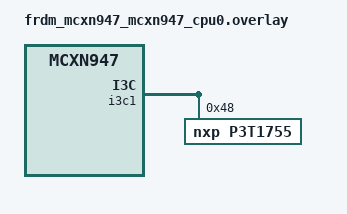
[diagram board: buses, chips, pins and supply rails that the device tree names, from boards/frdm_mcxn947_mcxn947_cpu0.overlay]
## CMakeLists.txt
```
# SPDX-License-Identifier: Apache-2.0

cmake_minimum_required(VERSION 3.20.0)
find_package(Zephyr REQUIRED HINTS $ENV{ZEPHYR_BASE})
project(mctp_endpoint)

target_include_directories(app PRIVATE ../common/include)

target_sources(app PRIVATE src/main.c ../common/pldm.c)
```

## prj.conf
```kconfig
CONFIG_MCTP=y
CONFIG_PLDM=y

CONFIG_SERIAL=y
CONFIG_UART_ASYNC_API=y
CONFIG_MCTP_UART=y

CONFIG_SENSOR=y
CONFIG_CBPRINTF_FP_SUPPORT=y

CONFIG_LOG=y
CONFIG_LOG_BUFFER_SIZE=4096
```

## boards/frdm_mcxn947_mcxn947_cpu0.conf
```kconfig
#CONFIG_I2C_MCUX_LPI2C_BUS_RECOVERY=y
```

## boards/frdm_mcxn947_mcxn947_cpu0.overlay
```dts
/*
 * Copyright 2026 Intel Corporation
 *
 * SPDX-License-Identifier: Apache-2.0
 */

mctp_serial: &arduino_serial {};

/ {
	aliases {
		ambient-temp0 = &p3t1755;
	};
};

&i3c1 {
	status = "okay";

	i2c-scl-hz = <DT_FREQ_K(400)>;
	i3c-scl-hz = <DT_FREQ_M(4)>;
	i3c-od-scl-hz = <DT_FREQ_K(1500)>;

	p3t1755: p3t1755@4800000236152a0090 {
		compatible = "nxp,p3t1755";
		reg = <0x48 0x0236 0x152a0090>;
		status = "okay";
	};
};
```

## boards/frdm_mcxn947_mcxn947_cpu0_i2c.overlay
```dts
&gpio5 {
	status = "okay";
};

&flexcomm2 {
	status = "okay";
};

&flexcomm2_lpi2c2 {
	status = "okay";
	clock-frequency = <I2C_BITRATE_STANDARD>;
};

&i3c1 {
	status = "okay";

	i2c-scl-hz = <DT_FREQ_K(400)>;
	i3c-scl-hz = <DT_FREQ_M(4)>;
	i3c-od-scl-hz = <DT_FREQ_K(1500)>;

	p3t1755: p3t1755@4800000236152a0090 {
		compatible = "nxp,p3t1755";
		reg = <0x48 0x0236 0x152a0090>;
		status = "okay";
	};
};

/ {
	aliases {
		ambient-temp0 = &p3t1755;
	};

	mctp_i2c: mctp_i2c {
		compatible = "zephyr,mctp-i2c-gpio-target";
		i2c = <&flexcomm2_lpi2c2>;
		i2c-addr = <71>;
		endpoint-id = <13>;
		endpoint-gpios = <&gpio0 7 GPIO_ACTIVE_HIGH>;
	};
};
```

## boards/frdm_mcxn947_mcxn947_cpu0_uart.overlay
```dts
 mctp_serial: &arduino_serial {};

//&gpio5 {
//	status = "okay";
//};
//
//&flexcomm2 {
//	status = "okay";
//};
//
//&flexcomm2_lpi2c2 {
//	status = "okay";
//	clock-frequency = <I2C_BITRATE_STANDARD>;
//};
//
/// {
//	mctp_i2c: mctp_i2c {
//		compatible = "zephyr,mctp-i2c-gpio-target";
//		i2c = <&flexcomm2_lpi2c2>;
//		i2c-addr = <70>;
//		endpoint-id = <11>;
//		endpoint-gpios = <&gpio5 3 GPIO_ACTIVE_HIGH>;
//	};
//};
//
//&nxp_lcd_8080_connector {
//	status = "disabled";
//};
//
//&flexio0 {
//	status = "disabled";
//};
//
```

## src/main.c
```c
/*
 * Copyright (c) 2016 Intel Corporation
 *
 * SPDX-License-Identifier: Apache-2.0
 */

#include <zephyr/kernel.h>
#include <zephyr/drivers/sensor.h>

#include <zephyr/pmci/mctp/mctp_uart.h>

#include <libmctp.h>
#include <libpldm/entity.h>

#include <pldm.h>

#include <zephyr/logging/log.h>
LOG_MODULE_REGISTER(sensor_mctp_endpoint);

MCTP_UART_DT_DEFINE(mctp_endpoint, DEVICE_DT_GET(DT_NODELABEL(mctp_serial)));
#define LOCAL_EID 10

#if DT_NODE_HAS_STATUS(DT_ALIAS(ambient_temp0), okay)
static const struct device *const dev = DEVICE_DT_GET(DT_ALIAS(ambient_temp0));
#endif

#define REMOTE_EID 20
/* Local PLDM Terminus ID that responds to requests */
#define LOCAL_TID 2

struct message {
	uintptr_t fifo;
	size_t len;
	uint8_t src_eid;
	uint8_t data[];
};

K_FIFO_DEFINE(rx_fifo);

static struct mctp *mctp_ctx;

static struct pldm_tid_info tid_info = {
	.tid = LOCAL_EID,
	.types = {
		{ .byte = BIT(PLDM_BASE) | BIT(PLDM_PLATFORM)},
		{ 0 },
	},
	.type_infos = {
		[PLDM_BASE] = {
			.version = {
				.major = 1,
			},
			.commands = {
				{ .byte = BIT(PLDM_GET_TID)  | BIT(PLDM_GET_PLDM_VERSION) |
					  BIT(PLDM_GET_PLDM_TYPES) | BIT(PLDM_GET_PLDM_COMMANDS)
				},
				{ 0 },
			},
		},
		[PLDM_PLATFORM] = {
			.version = {
				.major = 1,
			},
			.commands = {
				[PLDM_GET_SENSOR_READING / 8] = {
					.byte = BIT(PLDM_GET_SENSOR_READING % 8)
				},
				[PLDM_GET_PDR_REPOSITORY_INFO / 8] = {
					.byte = BIT(PLDM_GET_PDR % 8)
				},
				{ 0 },
			},
		}
	},
};

static struct pldm_compact_numeric_sensor_pdr sensor_pdr = {
	.hdr = {
		.record_handle = 0,
		.version = 1,
		.type = PLDM_COMPACT_NUMERIC_SENSOR_PDR,
		.record_change_num = 0,
		.length = sys_cpu_to_le16(sizeof(struct pldm_compact_numeric_sensor_pdr) -
					  sizeof(struct pldm_pdr_hdr)),
	},
	.terminus_handle = sys_cpu_to_le16(LOCAL_TID),
	.sensor_id = sys_cpu_to_le16(1),
	.entity_type = sys_cpu_to_le16(PLDM_ENTITY_TERMINUS | (1 << 15)),
	.entity_instance = sys_cpu_to_le16(1),
	.container_id = 0,
	.sensor_name_length = 0,
	.base_unit = PLDM_SENSOR_UNIT_DEGRESS_C,
	.unit_modifier = -1,
	.occurrence_rate = PLDM_RATE_UNIT_NONE,
	.range_field_support.byte = 0,
	.warning_high = sys_cpu_to_le32(100),
	.warning_low = sys_cpu_to_le32(-100),
	.critical_high = sys_cpu_to_le32(150),
	.critical_low = sys_cpu_to_le32(-150),
	.fatal_high = sys_cpu_to_le32(200),
	.fatal_low = sys_cpu_to_le32(-200),
};

static struct pldm_pdr_hdr *all_pdrs[] = {
	(struct pldm_pdr_hdr *)&sensor_pdr,
};

static int sensor_reading_cb(uint16_t sensor_id, bool8_t rearm, uint8_t *comp_code, uint8_t *sensor_data_size,
		      uint8_t *sensor_operational_state, uint8_t *sensor_event_message_enable,
		      uint8_t *present_state, uint8_t *previous_state, uint8_t *event_state,
		      const uint8_t *present_reading);

static struct pldm_commands_cb pldm_cbs = {
	.numeric_sensor_reading = sensor_reading_cb,
};

#if DT_NODE_HAS_STATUS(DT_ALIAS(ambient_temp0), okay)
int read_temperature(struct sensor_value *val)
{
	int ret;

	ret = sensor_sample_fetch_chan(dev, SENSOR_CHAN_AMBIENT_TEMP);
	if (ret < 0) {
		LOG_ERR("Could not fetch temperature: %d", ret);
		return ret;
	}

	ret = sensor_channel_get(dev, SENSOR_CHAN_AMBIENT_TEMP, val);
	if (ret < 0) {
		LOG_ERR("Could not get temperature: %d", ret);
	}

	return ret;
}
#endif

static int sensor_reading_cb(uint16_t sensor_id, bool8_t rearm, uint8_t *comp_code, uint8_t *sensor_data_size,
			      uint8_t *sensor_operational_state, uint8_t *sensor_event_message_enable,
			      uint8_t *present_state, uint8_t *previous_state, uint8_t *event_state,
			      const uint8_t *present_reading)
{

	struct sensor_value temp;
	int32_t reading;
	int rc;

	*sensor_data_size = PLDM_SENSOR_DATA_SIZE_SINT32;
	*sensor_operational_state = PLDM_SENSOR_ENABLED;
	*sensor_event_message_enable = PLDM_NO_EVENT_GENERATION;
	*present_state = PLDM_SENSOR_NORMAL;
	*previous_state = PLDM_SENSOR_UNKNOWN;
	*event_state = PLDM_SENSOR_NORMAL;

#if DT_NODE_HAS_STATUS(DT_ALIAS(ambient_temp0), okay)
	rc = read_temperature(&temp);
	if (rc < 0) {
		LOG_ERR("Error reading temperature sensor: %d", rc);
		*present_state = PLDM_SENSOR_UNKNOWN;
	}
#else
	(void)rc;
	/* If we don't have a real sensor, just return a dummy value */
	LOG_INF("No temperature sensor found, returning dummy value");
	temp.val1 = 8;
	temp.val2 = 500000;
#endif


	LOG_INF("Read temperature sensor, value %f", sensor_value_to_double(&temp));
	reading = sensor_value_to_deci(&temp);

	*comp_code = PLDM_SUCCESS;

	memcpy((void *)present_reading, &reading, sizeof(reading));

	return 0;
}

static void pldm_rx_work(struct k_work *item)
{
	int rc;

	while (true) {
		struct message *rx_msg = k_fifo_get(&rx_fifo, K_NO_WAIT);
		if (!rx_msg) {
			break;
		}

		LOG_INF("Processing PLDM message from mctp endpoint %d, len %zu", rx_msg->src_eid, rx_msg->len);
		LOG_HEXDUMP_DBG(rx_msg->data, rx_msg->len, "PLDM message");

		rc = pldm_request_handler(mctp_ctx, rx_msg->src_eid, &tid_info, all_pdrs,
					  ARRAY_SIZE(all_pdrs), &pldm_cbs,
					  (struct pldm_msg *)rx_msg->data,
					  rx_msg->len);

		LOG_DBG("PLDM request handler returned %d", rc);

		free(rx_msg);
	}
}
K_WORK_DEFINE(rx_work, pldm_rx_work);

static void rx_message(uint8_t src_eid, bool tag_owner, uint8_t msg_tag, void *data, void *msg,
		       size_t len)
{
	/* Treat data as a buffer for byte wise access */
	uint8_t *msg_buf = msg;

	if (len < 1) {
		LOG_WRN("MCTP Message should contain a message type and integrity check byte!");
		return;
	}

	/* If the message endpoint ID matches our local endpoint ID, and its a pldm message, submit
	 * it to the work queue for processing.
	 */
	if ((msg_buf[0] & MCTP_MESSAGE_TYPE_MASK) == PLDM_MCTP_MESSAGE_TYPE) {
		size_t pldm_msg_len = len - 1;
		struct message *rx_msg = malloc(sizeof(struct message) + pldm_msg_len);

		if (!rx_msg) {
			LOG_ERR("Failed to allocate memory for incoming PLDM message");
			return;
		}

		rx_msg->len = pldm_msg_len;
		rx_msg->src_eid = src_eid;
		memcpy(rx_msg->data, &msg_buf[1], pldm_msg_len);
		k_fifo_put(&rx_fifo, rx_msg);
		k_work_submit(&rx_work);
	}
}

int main(void)
{
#if DT_NODE_HAS_STATUS(DT_ALIAS(ambient_temp0), okay)
	if (!device_is_ready(dev)) {
		LOG_WRN("sensor: device not ready.\n");
		return 0;
	}
#endif

	LOG_INF("Sensor EID:%d on %s\n", LOCAL_EID, CONFIG_BOARD_TARGET);

	LOG_INF("Supported PLDM types:");
	log_types(tid_info.types);
	log_commands(PLDM_BASE, tid_info.type_infos[PLDM_TYPE_INFO_IDX(PLDM_BASE)].commands);
	log_commands(PLDM_PLATFORM, tid_info.type_infos[PLDM_TYPE_INFO_IDX(PLDM_PLATFORM)].commands);

	mctp_ctx = mctp_init();
	__ASSERT_NO_MSG(mctp_ctx != NULL);
	mctp_register_bus(mctp_ctx, &mctp_endpoint.binding, LOCAL_EID);
	mctp_set_rx_all(mctp_ctx, rx_message, NULL);
	mctp_uart_start_rx(&mctp_endpoint);

	return 0;
}
```
